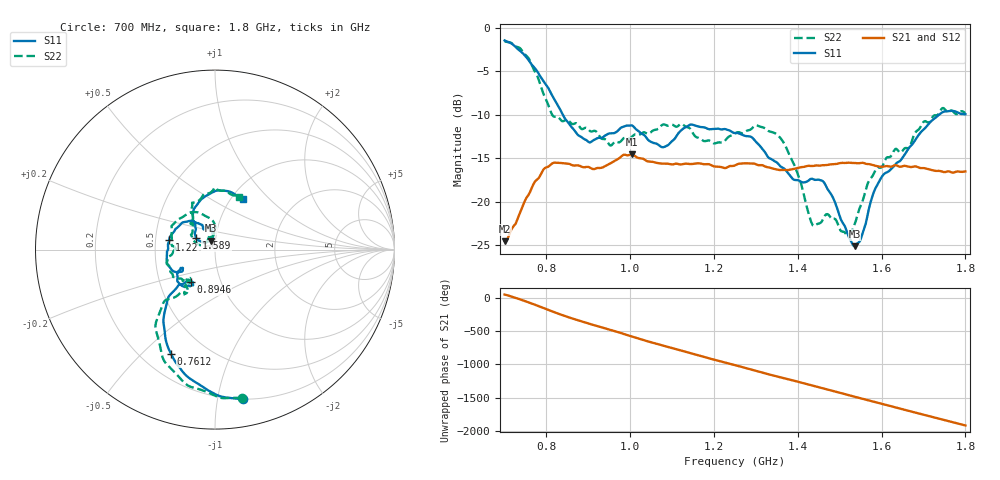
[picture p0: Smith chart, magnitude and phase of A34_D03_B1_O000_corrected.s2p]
! Created with skrf 1.9.0 (http://scikit-rf.org).
# Hz S RI R 50.0
!freq ReS11 ImS11 ReS21 ImS21 ReS12 ImS12 ReS22 ImS22
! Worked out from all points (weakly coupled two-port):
!   1601 points, 700 MHz to 1.8 GHz, reference 50 ohm
!   highest |S21| = -14.56 dB at 1.004 GHz (marker M1); lowest = -24.6 dB at 700.7 MHz (marker M2)
!   lowest |S11| = -25.1 dB at 1.535 GHz (marker M3), VSWR 1.12, Z = 47.5 + j4.79 ohm
!   |S11| at or under -10 dB: 839 MHz to 1.737 GHz (897.9 MHz wide, 69.7 % of centre)
!   |S22| runs from -24.0 to -1.5 dB; largest |S21 - S12| = 0.0035
!   S11 on the Smith chart (normalised r, x): 700 MHz: 0.20, -1.19; 761.2 MHz: 0.32, -0.62; 894.6 MHz: 0.72, -0.27; 1.22 GHz: 0.59, +0.07; 1.589 GHz: 0.80, +0.10; 1.8 GHz: 1.13, +0.70
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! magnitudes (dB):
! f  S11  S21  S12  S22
! 700 MHz  -1.4  -24.6  -24.3  -1.5
! 700.7 MHz  -1.4  -24.6  -24.3  -1.5
! 761.2 MHz  -4.0  -18.8  -18.7  -3.8
! 814.8 MHz  -7.9  -15.6  -15.6  -10.1
! 883.6 MHz  -12.6  -16.0  -15.9  -11.6
! 894.6 MHz  -12.9  -16.0  -16.1  -11.5
! 953 MHz  -12.1  -15.6  -15.6  -13.5
! 1.004 GHz  -11.2  -14.6  -14.7  -12.5
! 1.067 GHz  -13.5  -15.6  -15.5  -11.6
! 1.143 GHz  -11.1  -15.7  -15.7  -11.6
! 1.22 GHz  -11.7  -16.1  -16.1  -13.2
! 1.25 GHz  -12.1  -15.8  -15.8  -12.2
! 1.357 GHz  -15.9  -16.4  -16.3  -12.6
! 1.396 GHz  -17.5  -16.2  -16.2  -16.4
! 1.434 GHz  -17.4  -15.9  -15.9  -22.5
! 1.464 GHz  -17.9  -15.8  -15.8  -21.6
! 1.519 GHz  -23.7  -15.5  -15.5  -23.9
! 1.535 GHz  -25.1  -15.6  -15.6  -22.7
! 1.589 GHz  -18.1  -15.9  -15.9  -16.1
! 1.617 GHz  -16.5  -15.9  -15.9  -14.9
! 1.74 GHz  -9.9  -16.5  -16.5  -9.6
! 1.8 GHz  -9.9  -16.5  -16.5  -9.8
